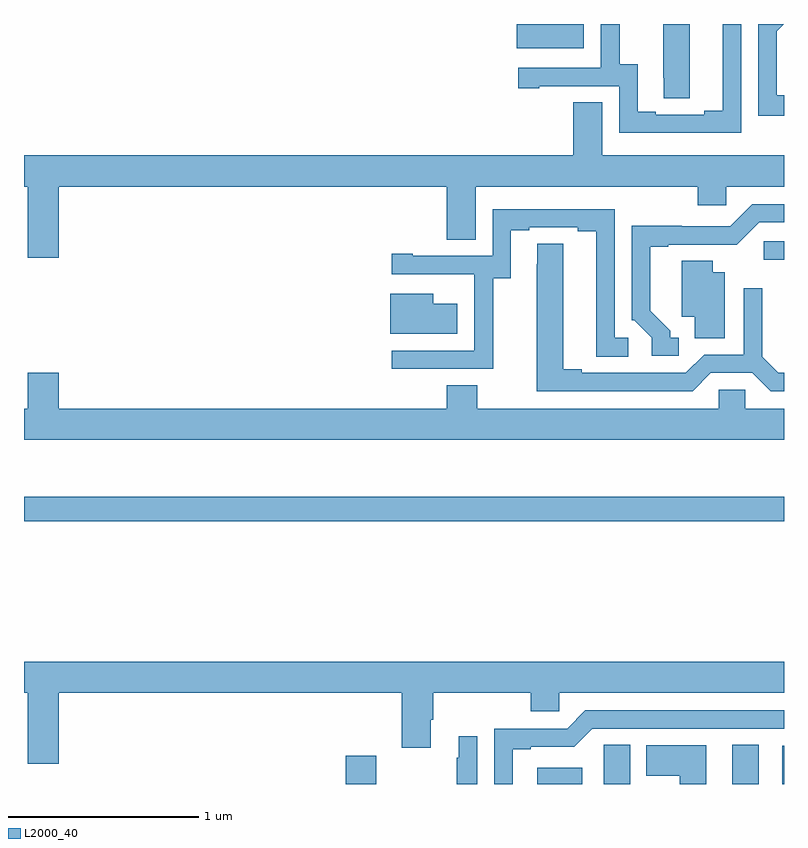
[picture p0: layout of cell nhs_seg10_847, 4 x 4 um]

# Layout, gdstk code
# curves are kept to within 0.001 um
import gdstk
lib = gdstk.Library(unit=1e-6, precision=1e-09)
def R(c, l, rs):  # rectangles x0, y0, x1, y1
    for r in rs: c.add(gdstk.rectangle(r[:2], r[2:], *l))
def P(c, l, *ps):  # polygons
    for p in ps: c.add(gdstk.Polygon(p, *l))
L2000_40 = (2000, 40)

nhs_seg10_847 = lib.new_cell('nhs_seg10_847')
R(nhs_seg10_847, L2000_40, [(154.694,1302.5,154.854,1302.649), (155.702,1302.5,155.938,1302.586), (156.728,1302.5,156.868,1302.707), (156.992,1302.5,157,1302.702), (153,1303.882,157,1304.011), (156.894,1305.26,157,1305.357), (155.594,1306.373,155.947,1306.5)])
P(nhs_seg10_847, L2000_40, [(156.505,1306.5),(156.365,1306.5),(156.365,1306.216),(156.366,1306.216),(156.366,1306.108),(156.505,1306.108)],
  [(157,1306.126),(156.961,1306.126),(156.961,1306.462),(156.999,1306.5),(156.864,1306.5),(156.864,1306.016),(157,1306.016)],
  [(156.774,1306.5),(156.677,1306.5),(156.677,1306.043),(156.581,1306.043),(156.581,1306.023),(156.325,1306.023),(156.325,1306.038),(156.229,1306.038),(156.229,1306.289),(156.135,1306.289),(156.135,1306.5),(156.036,1306.5),(156.036,1306.269),(155.601,1306.269),(155.601,1306.161),(155.713,1306.161),(155.713,1306.173),(156.132,1306.173),(156.132,1305.927),(156.774,1305.927)],
  [(153.184,1305.644),(155.225,1305.644),(155.225,1305.364),(155.377,1305.364),(155.377,1305.644),(156.545,1305.644),(156.545,1305.546),(156.696,1305.546),(156.696,1305.644),(157,1305.644),(157,1305.808),(156.043,1305.808),(156.043,1306.088),(155.891,1306.088),(155.891,1305.808),(153,1305.808),(153,1305.644),(153.02,1305.644),(153.02,1305.27),(153.184,1305.27)],
  [(156.445,1304.85),(156.4,1304.85),(156.4,1304.885),(156.295,1304.99),(156.295,1305.327),(156.391,1305.327),(156.391,1305.339),(156.752,1305.338),(156.87,1305.456),(157,1305.456),(157,1305.552),(156.834,1305.552),(156.717,1305.435),(156.461,1305.435),(156.461,1305.437),(156.198,1305.437),(156.198,1304.94),(156.213,1304.94),(156.303,1304.85),(156.303,1304.754),(156.445,1304.754)],
  [(155.469,1305.163),(155.563,1305.163),(155.563,1305.414),(155.659,1305.414),(155.659,1305.429),(155.915,1305.429),(155.915,1305.409),(156.011,1305.409),(156.011,1304.749),(156.181,1304.749),(156.181,1304.85),(156.108,1304.85),(156.108,1305.525),(155.466,1305.525),(155.466,1305.279),(155.047,1305.279),(155.047,1305.292),(154.935,1305.292),(154.935,1305.183),(155.369,1305.183),(155.369,1305.182),(155.37,1305.182),(155.37,1304.781),(154.935,1304.781),(154.935,1304.685),(155.469,1304.685)],
  [(156.615,1304.664),(156.833,1304.664),(156.929,1304.568),(157,1304.568),(157,1304.664),(156.969,1304.664),(156.885,1304.748),(156.885,1305.109),(156.789,1305.109),(156.789,1304.76),(156.579,1304.76),(156.483,1304.664),(155.935,1304.664),(155.935,1304.684),(155.839,1304.684),(155.839,1305.344),(155.7,1305.344),(155.699,1304.568),(156.519,1304.568)],
  [(156.688,1305.193),(156.625,1305.193),(156.625,1305.254),(156.461,1305.254),(156.461,1304.96),(156.53,1304.96),(156.53,1304.845),(156.688,1304.845)],
  [(155.281,1305.028),(155.155,1305.028),(155.155,1305.079),(154.928,1305.079),(154.928,1304.87),(155.281,1304.87)],
  [(157,1304.476),(156.795,1304.476),(156.795,1304.574),(156.657,1304.574),(156.657,1304.476),(155.385,1304.476),(155.385,1304.6),(155.225,1304.6),(155.225,1304.476),(153.184,1304.476),(153.184,1304.665),(153.02,1304.665),(153.02,1304.476),(153,1304.476),(153,1304.312),(157,1304.312)],
  [(153.184,1302.98),(154.988,1302.98),(154.988,1302.69),(155.14,1302.69),(155.14,1302.838),(155.153,1302.838),(155.153,1302.98),(155.666,1302.98),(155.666,1302.882),(155.817,1302.882),(155.817,1302.98),(157,1302.98),(157,1303.144),(153,1303.144),(153,1302.98),(153.02,1302.98),(153.02,1302.606),(153.184,1302.606)],
  [(155.572,1302.684),(155.668,1302.684),(155.668,1302.696),(155.895,1302.696),(155.991,1302.792),(157,1302.792),(157,1302.888),(155.955,1302.888),(155.859,1302.792),(155.475,1302.792),(155.475,1302.5),(155.572,1302.5)],
  [(155.385,1302.751),(155.288,1302.751),(155.288,1302.638),(155.277,1302.638),(155.277,1302.5),(155.385,1302.5)],
  [(156.19,1302.707),(156.051,1302.707),(156.051,1302.596),(156.05,1302.596),(156.05,1302.5),(156.19,1302.5)],
  [(156.592,1302.703),(156.275,1302.703),(156.275,1302.544),(156.452,1302.544),(156.452,1302.5),(156.592,1302.5)])

lib.write_gds('nhs_seg10_847.gds')
